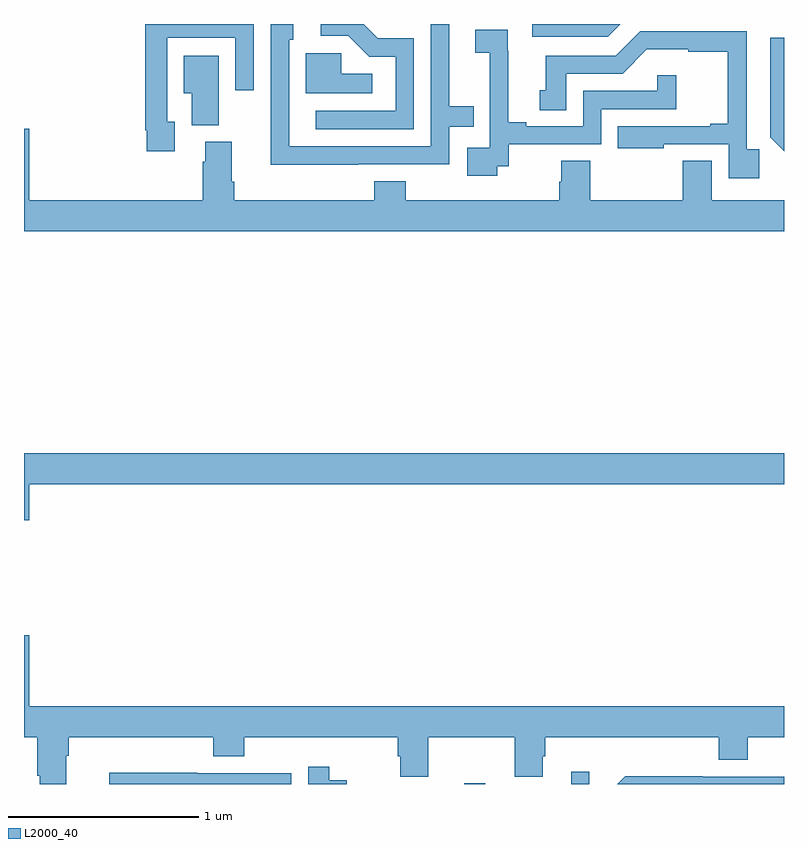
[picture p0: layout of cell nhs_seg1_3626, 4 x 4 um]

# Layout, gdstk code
import gdstk
lib = gdstk.Library(unit=1e-6, precision=1e-09)
def R(c, l, rs):  # rectangles x0, y0, x1, y1
    for r in rs: c.add(gdstk.rectangle(r[:2], r[2:], *l))
def P(c, l, *ps):  # polygons
    for p in ps: c.add(gdstk.Polygon(p, *l))
L2000_40 = (2000, 40)

nhs_seg1_3626 = lib.new_cell('nhs_seg1_3626')
R(nhs_seg1_3626, L2000_40, [(311.317,506.199,311.428,506.203), (311.879,506.199,311.976,506.263)])
P(nhs_seg1_3626, L2000_40, [(309.793,509.685),(309.753,509.685),(309.753,510.126),(310.113,510.126),(310.113,509.85),(310.209,509.85),(310.209,510.199),(309.637,510.199),(309.637,509.641),(309.645,509.641),(309.645,509.529),(309.793,509.529)],
  [(311.052,510.123),(310.863,510.123),(310.787,510.199),(310.563,510.199),(310.563,510.138),(310.707,510.138),(310.818,510.027),(310.956,510.027),(310.956,509.742),(310.536,509.742),(310.536,509.646),(311.052,509.646)],
  [(312.139,510.199),(311.676,510.199),(311.676,510.132),(312.072,510.132)],
  [(310.76,509.46),(311.238,509.46),(311.238,509.658),(311.366,509.658),(311.366,509.767),(311.239,509.767),(311.239,510.199),(311.142,510.199),(311.142,509.556),(310.395,509.556),(310.395,510.117),(310.417,510.117),(310.417,510.199),(310.299,510.199),(310.299,509.762),(310.298,509.762),(310.298,509.459),(310.76,509.459)],
  [(311.49,509.451),(311.552,509.451),(311.552,509.565),(312.039,509.565),(312.039,509.751),(312.434,509.751),(312.434,509.929),(312.333,509.929),(312.333,509.847),(311.943,509.847),(311.943,509.661),(311.644,509.661),(311.644,509.681),(311.548,509.681),(311.548,510.059),(311.546,510.059),(311.546,510.17),(311.376,510.17),(311.376,510.049),(311.45,510.049),(311.45,509.851),(311.451,509.851),(311.451,509.547),(311.334,509.547),(311.334,509.4),(311.49,509.4)],
  [(312.869,509.539),(312.804,509.539),(312.804,510.162),(312.243,510.162),(312.114,510.033),(311.747,510.033),(311.747,509.85),(311.714,509.85),(311.714,509.746),(311.854,509.746),(311.854,509.937),(312.15,509.937),(312.278,510.065),(312.497,510.065),(312.497,510.054),(312.703,510.054),(312.703,509.674),(312.611,509.674),(312.611,509.661),(312.124,509.661),(312.124,509.546),(312.367,509.546),(312.367,509.565),(312.708,509.565),(312.708,509.388),(312.869,509.388)],
  [(313,510.127),(312.927,510.127),(312.927,509.602),(313,509.529)],
  [(310.834,509.938),(310.671,509.938),(310.671,510.045),(310.484,510.045),(310.484,509.834),(310.834,509.834)],
  [(310.024,510.031),(309.842,510.031),(309.842,509.834),(309.884,509.834),(309.884,509.665),(310.024,509.665)],
  [(313,509.272),(312.619,509.272),(312.619,509.48),(312.467,509.48),(312.467,509.272),(311.981,509.272),(311.981,509.48),(311.828,509.48),(311.828,509.37),(311.816,509.37),(311.816,509.272),(311.009,509.272),(311.009,509.371),(310.844,509.371),(310.844,509.272),(310.106,509.272),(310.106,509.368),(310.093,509.368),(310.093,509.58),(309.953,509.58),(309.953,509.474),(309.941,509.474),(309.941,509.272),(309.028,509.272),(309.028,509.647),(309,509.647),(309,509.108),(313,509.108)],
  [(309.028,507.776),(313,507.776),(313,507.94),(309,507.94),(309,507.588),(309.028,507.588)],
  [(309.223,506.348),(309.236,506.348),(309.236,506.444),(309.995,506.444),(309.995,506.345),(310.16,506.345),(310.16,506.444),(310.967,506.444),(310.967,506.346),(310.979,506.346),(310.979,506.236),(311.127,506.236),(311.127,506.444),(311.584,506.444),(311.584,506.236),(311.731,506.236),(311.731,506.346),(311.744,506.346),(311.744,506.444),(312.656,506.444),(312.656,506.327),(312.808,506.327),(312.808,506.444),(313,506.444),(313,506.608),(309.028,506.608),(309.028,506.983),(309,506.983),(309,506.444),(309.071,506.444),(309.071,506.242),(309.083,506.242),(309.083,506.199),(309.223,506.199)],
  [(310.698,506.22),(310.606,506.22),(310.606,506.29),(310.497,506.29),(310.497,506.199),(310.698,506.199)],
  [(310.407,506.256),(309.911,506.256),(309.911,506.258),(309.448,506.258),(309.448,506.199),(310.407,506.199)],
  [(313,506.238),(312.572,506.238),(312.572,506.24),(312.164,506.24),(312.123,506.199),(313,506.199)])

lib.write_gds('nhs_seg1_3626.gds')
